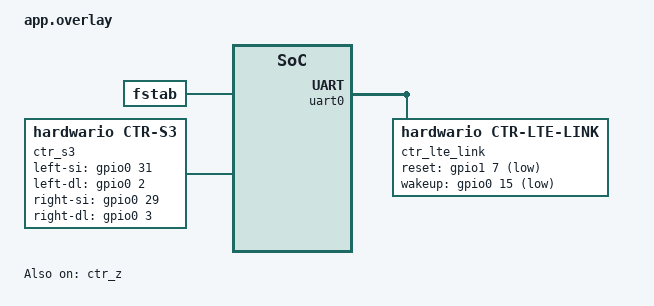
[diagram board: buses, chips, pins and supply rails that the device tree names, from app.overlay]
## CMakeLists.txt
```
#
# Copyright (c) 2025 HARDWARIO a.s.
#
# SPDX-License-Identifier: LicenseRef-HARDWARIO-5-Clause
#

cmake_minimum_required(VERSION 3.20.0)

set(ENV{FW_BUNDLE} "com.hardwario.chester.app.motion")
set(ENV{FW_NAME} "CHESTER Motion")

# Derive firmware version from git (see scripts/version.cmake); the fallback is
# used when git is unavailable at build time.
set(FW_VERSION_FALLBACK "v3.0.1")
include(${CMAKE_CURRENT_SOURCE_DIR}/../../scripts/version.cmake)

find_package(Zephyr REQUIRED HINTS $ENV{ZEPHYR_BASE})

project(chester-motion)

include(${ZEPHYR_CHESTER_MODULE_DIR}/scripts/app_codec.cmake)

target_sources(app PRIVATE src/app_cbor.c)
target_sources(app PRIVATE src/app_config.c)
target_sources(app PRIVATE src/app_data.c)
target_sources(app PRIVATE src/app_handler.c)
target_sources(app PRIVATE src/app_init.c)
target_sources(app PRIVATE src/app_send.c)
target_sources(app PRIVATE src/app_sensor.c)
target_sources(app PRIVATE src/app_shell.c)
target_sources(app PRIVATE src/app_work.c)
target_sources(app PRIVATE src/main.c)

target_precompile_headers(app PRIVATE src/feature.h)

# ### Preserved code "cmake" (begin)
# ^^^ Preserved code "cmake" (end)
```

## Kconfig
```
#
# Copyright (c) 2025 HARDWARIO a.s.
#
# SPDX-License-Identifier: LicenseRef-HARDWARIO-5-Clause
#

menu "Application"

# CHESTER-APP-REPORT-JITTER
config APP_REPORT_JITTER
	bool "Add random time jitter to report transfers"
	default y
	select ENTROPY_GENERATOR
# HARDWARE-CHESTER-Z
config SHIELD_CTR_Z
	bool "Enable SHIELD_CTR_Z"
	default y

config CTR_Z
	default y

config I2C
	default y
# SUBSYSTEM-LTE-V2
config SHIELD_CTR_LTE_V2
	bool "Enable SHIELD_CTR_LTE_V2"
	default y

config CTR_LTE_V2
	default y

# ### Preserved code "k_config" (begin)
# ^^^ Preserved code "k_config" (end)

rsource "Kconfig.variant"

endmenu

menu "Zephyr Kernel"
source "Kconfig.zephyr"
endmenu
```

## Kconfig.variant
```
#
# Copyright (c) 2025 HARDWARIO a.s.
#
# SPDX-License-Identifier: LicenseRef-HARDWARIO-5-Clause
#

config VARIANT_CHESTER_MOTION
    bool "Enable VARIANT_CHESTER_MOTION"
    default y
        
```

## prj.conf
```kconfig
#
# Copyright (c) 2025 HARDWARIO a.s.
#
# SPDX-License-Identifier: LicenseRef-HARDWARIO-5-Clause
#

# Configurations
# SUBSYSTEM-ACCEL
CONFIG_CTR_ACCEL=y
# SUBSYSTEM-BATT
CONFIG_CTR_BATT=y
# SUBSYSTEM-BLUETOOTH
CONFIG_CTR_BLE=y
# SUBSYSTEM-BUF
CONFIG_CTR_BUF=y
# SUBSYSTEM-BUTTON
CONFIG_CTR_BUTTON=y
# SUBSYSTEM-CLOUD
CONFIG_CTR_CLOUD=y
CONFIG_SETTINGS_SHELL=y
CONFIG_IMG_MANAGER=y
CONFIG_BOOTLOADER_MCUBOOT=y
CONFIG_SPI=y
CONFIG_DFU_TARGET=y
CONFIG_DFU_TARGET_STREAM=y
CONFIG_DFU_TARGET_MCUBOOT=y
CONFIG_DFU_TARGET_LOG_LEVEL_DBG=y
CONFIG_STREAM_FLASH_ERASE=y
CONFIG_STREAM_FLASH=y
CONFIG_FILE_SYSTEM=y
CONFIG_FILE_SYSTEM_LITTLEFS=y
CONFIG_FILE_SYSTEM_MKFS=y
CONFIG_FILE_SYSTEM_SHELL=y
CONFIG_SETTINGS_FILE=y
CONFIG_SETTINGS_FILE_PATH="/lfs1/settings/run"
# SUBSYSTEM-DEFAULTS
CONFIG_CTR_DEFAULTS=y
# SUBSYSTEM-INFO
CONFIG_CTR_INFO=y
# SUBSYSTEM-LED
CONFIG_CTR_LED=y
# SUBSYSTEM-LOG
CONFIG_CTR_LOG=y
# SUBSYSTEM-LTE-V2
CONFIG_CTR_LTE_V2=y
# SUBSYSTEM-POWER
CONFIG_CTR_POWER=y
# SUBSYSTEM-RTC
CONFIG_CTR_RTC=y
# SUBSYSTEM-SHELL
CONFIG_CTR_SHELL=y
# SUBSYSTEM-THERM
CONFIG_CTR_THERM=y
# SUBSYSTEM-WDOG
CONFIG_CTR_WDOG=y
# SUBSYSTEM-ZCBOR
CONFIG_ZCBOR=y
CONFIG_ZCBOR_STOP_ON_ERROR=y
# Extra configurations
CONFIG_CTR_S3=y
CONFIG_GPIO_SHELL=y
CONFIG_I2C_SHELL=y
CONFIG_ISR_TABLES_LOCAL_DECLARATION=y
CONFIG_LTO=y
CONFIG_MCUBOOT_SHELL=y

# ### Preserved code "config" (begin)
CONFIG_BUILD_OUTPUT_META=y
CONFIG_BUILD_OUTPUT_META_STATE_PROPAGATE=y
CONFIG_CTR_CLOUD_SPOOL=y
# ^^^ Preserved code "config" (end)
```

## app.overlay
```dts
/*
 * Copyright (c) 2025 HARDWARIO a.s.
 *
 * SPDX-License-Identifier: LicenseRef-HARDWARIO-5-Clause
 */

/* HARDWARE-CHESTER-Z  */
&ctr_z {
	status = "okay";
};
/* SUBSYSTEM-CLOUD  */
/ {
	fstab {
		compatible = "zephyr,fstab";
		lfs1: lfs1 {
			compatible = "zephyr,fstab,littlefs";
			mount-point = "/lfs1";
			partition = <&littlefs_storage>;
			automount;
			read-size = <16>;
			prog-size = <16>;
			cache-size = <64>;
			lookahead-size = <32>;
			block-cycles = <512>;
		};
	};
};
/* SUBSYSTEM-LTE-V2  */
/ {
	chosen {
		ctr,lte_link = &ctr_lte_link;
	};
};

&uart0 {
	status = "okay";

	ctr_lte_link: ctr_lte_link {
		compatible = "hardwario,ctr-lte-link";
		status = "okay";
		reset-gpios = <&gpio1 7 (GPIO_ACTIVE_LOW | GPIO_OPEN_DRAIN)>;
		wakeup-gpios = <&gpio0 15 (GPIO_ACTIVE_LOW | GPIO_OPEN_DRAIN)>;
	};
};

&uart0 {
	status = "okay";
};

/* ### Preserved code "overlay" (begin) */

/ {
	ctr_s3: ctr_s3 {
		compatible = "hardwario,ctr-s3";
		status = "okay";
		left-si-gpios = <&gpio0 31 GPIO_ACTIVE_HIGH>;
		left-dl-gpios = <&gpio0 2 GPIO_ACTIVE_HIGH>;
		right-si-gpios = <&gpio0 29 GPIO_ACTIVE_HIGH>;
		right-dl-gpios = <&gpio0 3 GPIO_ACTIVE_HIGH>;
	};
};

/* ^^^ Preserved code "overlay" (end) */
```

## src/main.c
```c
/*
 * Copyright (c) 2023 HARDWARIO a.s.
 *
 * SPDX-License-Identifier: LicenseRef-HARDWARIO-5-Clause
 */

#include "app_init.h"
#include "app_config.h"

/* CHESTER includes */
#include <chester/ctr_led.h>
#include <chester/ctr_wdog.h>

/* Zephyr includes */
#include <zephyr/kernel.h>
#include <zephyr/logging/log.h>

/* Standard includes */
#include <stdbool.h>

LOG_MODULE_REGISTER(main, LOG_LEVEL_DBG);

extern struct ctr_wdog_channel g_app_wdog_channel;

int main(void)
{
	int ret;
	LOG_INF("Build time: " __DATE__ " " __TIME__);

	ret = app_init();
	if (ret) {
		LOG_ERR("Call `app_init` failed: %d", ret);
		k_oops();
	}

	for (;;) {
		LOG_INF("Alive");
		ret = ctr_wdog_feed(&g_app_wdog_channel);
		if (ret) {
			LOG_ERR("Call `ctr_wdog_feed` failed: %d", ret);
			k_oops();
		}
		if (g_app_config.service_mode_enabled) {
			if (g_app_config.mode == APP_CONFIG_MODE_NONE) {
				ctr_led_set(CTR_LED_CHANNEL_Y, true);
				k_sleep(K_MSEC(30));
				ctr_led_set(CTR_LED_CHANNEL_Y, false);
			} else {
				ctr_led_set(CTR_LED_CHANNEL_G, true);
				k_sleep(K_MSEC(30));
				ctr_led_set(CTR_LED_CHANNEL_G, false);
			}
		}
		/*
		if (g_app_config.mode == APP_CONFIG_MODE_NONE) {
			ctr_led_set(CTR_LED_CHANNEL_Y, true);
			k_sleep(K_MSEC(30));
			ctr_led_set(CTR_LED_CHANNEL_Y, false);
		} else {
			ctr_led_set(CTR_LED_CHANNEL_G, true);
			k_sleep(K_MSEC(30));
			ctr_led_set(CTR_LED_CHANNEL_G, false);
		}*/

		k_sleep(K_SECONDS(5));
	}

	return 0;
}
```

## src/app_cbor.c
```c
/*
 * Copyright (c) 2024 HARDWARIO a.s.
 *
 * SPDX-License-Identifier: LicenseRef-HARDWARIO-5-Clause
 */

#include "app_cbor.h"
#include "app_codec.h"
#include "app_config.h"
#include "app_data.h"
#include "feature.h"

/* CHESTER includes */
#include <chester/ctr_info.h>
#include <chester/ctr_lte_v2.h>
#include <chester/ctr_rtc.h>

/* Zephyr includes */
#include <zephyr/kernel.h>
#include <zephyr/logging/log.h>

#include <zcbor_common.h>
#include <zcbor_decode.h>
#include <zcbor_encode.h>

/* Standard includes */
#include <errno.h>
#include <math.h>
#include <stdbool.h>
#include <stddef.h>
#include <stdint.h>
#include <stdlib.h>

/* ### Preserved code "functions" (begin) */
#include <chester/ctr_power.h>
/* ^^^ Preserved code "functions" (end) */

LOG_MODULE_REGISTER(app_cbor, LOG_LEVEL_DBG);

static int encode(zcbor_state_t *zs)
{
	int ret;
	uint64_t timestamp;


	ret = ctr_rtc_get_ts(&timestamp);
	if (ret) {
		LOG_ERR("Call `ctr_rtc_get_ts` failed: %d", ret);
		return ret;
	}

	zs->constant_state->stop_on_error = true;

	zcbor_map_start_encode(zs, ZCBOR_VALUE_IS_INDEFINITE_LENGTH);

	/* ### Preserved code "message" (begin) */

	zcbor_uint32_put(zs, CODEC_KEY_E_MESSAGE);
	{
		zcbor_map_start_encode(zs, ZCBOR_VALUE_IS_INDEFINITE_LENGTH);

		zcbor_uint32_put(zs, CODEC_KEY_E_MESSAGE__VERSION);
		zcbor_uint32_put(zs, 2);

		static uint32_t sequence;
		zcbor_uint32_put(zs, CODEC_KEY_E_MESSAGE__SEQUENCE);
		zcbor_uint32_put(zs, sequence++);

		zcbor_uint32_put(zs, CODEC_KEY_E_MESSAGE__TIMESTAMP);
		zcbor_uint64_put(zs, timestamp);

		zcbor_map_end_encode(zs, ZCBOR_VALUE_IS_INDEFINITE_LENGTH);
	}

	/* ^^^ Preserved code "message" (end) */

	/* ### Preserved code "system" (begin) */

	zcbor_uint32_put(zs, CODEC_KEY_E_SYSTEM);
	{
		zcbor_map_start_encode(zs, ZCBOR_VALUE_IS_INDEFINITE_LENGTH);

		zcbor_uint32_put(zs, CODEC_KEY_E_SYSTEM__UPTIME);
		zcbor_uint64_put(zs, k_uptime_get() / 1000);

		zcbor_map_end_encode(zs, ZCBOR_VALUE_IS_INDEFINITE_LENGTH);
	}

	/* ^^^ Preserved code "system" (end) */

	/* ### Preserved code "power" (begin) */

#if defined(FEATURE_SUBSYSTEM_POWER)
	ret = ctr_power_cbor_encode(zs);
	if (ret) {
		LOG_ERR("Call `ctr_power_cbor_encode` failed: %d", ret);
		return ret;
	}
#endif /* defined(FEATURE_SUBSYSTEM_POWER) */

	/* ^^^ Preserved code "power" (end) */

	/* ### Preserved code "network" (begin) */

	zcbor_uint32_put(zs, CODEC_KEY_E_NETWORK);
	{
		zcbor_map_start_encode(zs, ZCBOR_VALUE_IS_INDEFINITE_LENGTH);

		zcbor_uint32_put(zs, CODEC_KEY_E_NETWORK__PARAMETER);
		{
			zcbor_map_start_encode(zs, ZCBOR_VALUE_IS_INDEFINITE_LENGTH);

			static struct ctr_lte_v2_conn_param conn_param;
			ret = ctr_lte_v2_get_conn_param(&conn_param);
			if (ret) {
				LOG_ERR("Call `ctr_lte_v2_get_conn_param` failed: %d", ret);
				return ret;
			}

			zcbor_uint32_put(zs, CODEC_KEY_E_NETWORK__PARAMETER__EEST);
			if (conn_param.valid) {
				zcbor_int32_put(zs, conn_param.eest);
			} else {
				zcbor_nil_put(zs, NULL);
			}

			zcbor_uint32_put(zs, CODEC_KEY_E_NETWORK__PARAMETER__ECL);
			if (conn_param.valid) {
				zcbor_int32_put(zs, conn_param.ecl);
			} else {
				zcbor_nil_put(zs, NULL);
			}

			zcbor_uint32_put(zs, CODEC_KEY_E_NETWORK__PARAMETER__RSRP);
			if (conn_param.valid) {
				zcbor_int32_put(zs, conn_param.rsrp);
			} else {
				zcbor_nil_put(zs, NULL);
			}

			zcbor_uint32_put(zs, CODEC_KEY_E_NETWORK__PARAMETER__RSRQ);
			if (conn_param.valid) {
				zcbor_int32_put(zs, conn_param.rsrq);
			} else {
				zcbor_nil_put(zs, NULL);
			}

			zcbor_uint32_put(zs, CODEC_KEY_E_NETWORK__PARAMETER__SNR);
			if (conn_param.valid) {
				zcbor_int32_put(zs, conn_param.snr);
			} else {
				zcbor_nil_put(zs, NULL);
			}

			zcbor_uint32_put(zs, CODEC_KEY_E_NETWORK__PARAMETER__PLMN);
			if (conn_param.valid) {
				zcbor_int32_put(zs, conn_param.plmn);
			} else {
				zcbor_nil_put(zs, NULL);
			}

			zcbor_uint32_put(zs, CODEC_KEY_E_NETWORK__PARAMETER__CID);
			if (conn_param.valid) {
				zcbor_int32_put(zs, conn_param.cid);
			} else {
				zcbor_nil_put(zs, NULL);
			}

			zcbor_uint32_put(zs, CODEC_KEY_E_NETWORK__PARAMETER__BAND);
			if (conn_param.valid) {
				zcbor_int32_put(zs, conn_param.band);
			} else {
				zcbor_nil_put(zs, NULL);
			}

			zcbor_uint32_put(zs, CODEC_KEY_E_NETWORK__PARAMETER__EARFCN);
			if (conn_param.valid) {
				zcbor_int32_put(zs, conn_param.earfcn);
			} else {
				zcbor_nil_put(zs, NULL);
			}

			zcbor_map_end_encode(zs, ZCBOR_VALUE_IS_INDEFINITE_LENGTH);
		}

		zcbor_map_end_encode(zs, ZCBOR_VALUE_IS_INDEFINITE_LENGTH);
	}

	/* ^^^ Preserved code "network" (end) */

	/* ### Preserved code "thermometer" (begin) */

	zcbor_uint32_put(zs, CODEC_KEY_E_THERMOMETER);
	{
		zcbor_map_start_encode(zs, ZCBOR_VALUE_IS_INDEFINITE_LENGTH);

		zcbor_uint32_put(zs, CODEC_KEY_E_THERMOMETER__TEMPERATURE);
		if (isnan(g_app_data.therm_temperature)) {
			zcbor_nil_put(zs, NULL);
		} else {
			zcbor_int32_put(zs, g_app_data.therm_temperature * 100.f);
		}

		zcbor_map_end_encode(zs, ZCBOR_VALUE_IS_INDEFINITE_LENGTH);
	}

	/* ^^^ Preserved code "thermometer" (end) */

	/* ### Preserved code "accelerometer" (begin) */

	zcbor_uint32_put(zs, CODEC_KEY_E_ACCELEROMETER);
	{
		zcbor_map_start_encode(zs, ZCBOR_VALUE_IS_INDEFINITE_LENGTH);

		zcbor_uint32_put(zs, CODEC_KEY_E_ACCELEROMETER__ACCEL_X);
		if (isnan(g_app_data.accel_acceleration_x)) {
			zcbor_nil_put(zs, NULL);
		} else {
			zcbor_int32_put(zs, g_app_data.accel_acceleration_x * 1000.f);
		}

		zcbor_uint32_put(zs, CODEC_KEY_E_ACCELEROMETER__ACCEL_Y);
		if (isnan(g_app_data.accel_acceleration_y)) {
			zcbor_nil_put(zs, NULL);
		} else {
			zcbor_int32_put(zs, g_app_data.accel_acceleration_y * 1000.f);
		}

		zcbor_uint32_put(zs, CODEC_KEY_E_ACCELEROMETER__ACCEL_Z);
		if (isnan(g_app_data.accel_acceleration_z)) {
			zcbor_nil_put(zs, NULL);
		} else {
			zcbor_int32_put(zs, g_app_data.accel_acceleration_z * 1000.f);
		}

		zcbor_uint32_put(zs, CODEC_KEY_E_ACCELEROMETER__ORIENTATION);
		if (g_app_data.accel_orientation == INT_MAX) {
			zcbor_nil_put(zs, NULL);
		} else {
			zcbor_uint32_put(zs, g_app_data.accel_orientation);
		}

		zcbor_map_end_encode(zs, ZCBOR_VALUE_IS_INDEFINITE_LENGTH);
	}



#if defined(CONFIG_CTR_S3)

    /* ### Preserved code "motion" (begin) */
    zcbor_uint32_put(zs, CODEC_KEY_E_MOTION);
    {
       zcbor_map_start_encode(zs, ZCBOR_VALUE_IS_INDEFINITE_LENGTH);


       zcbor_uint32_put(zs, CODEC_KEY_E_MOTION__TOTALIZER);
       {
           zcbor_map_start_encode(zs, ZCBOR_VALUE_IS_INDEFINITE_LENGTH);

           zcbor_uint32_put(zs, CODEC_KEY_E_MOTION__TOTALIZER__DETECT_LEFT);
           zcbor_uint32_put(zs, g_app_data.total_detect_left);

           zcbor_uint32_put(zs, CODEC_KEY_E_MOTION__TOTALIZER__DETECT_RIGHT);
           zcbor_uint32_put(zs, g_app_data.total_detect_right);

           zcbor_uint32_put(zs, CODEC_KEY_E_MOTION__TOTALIZER__MOTION_LEFT);
           zcbor_uint32_put(zs, g_app_data.total_motion_left);

           zcbor_uint32_put(zs, CODEC_KEY_E_MOTION__TOTALIZER__MOTION_RIGHT);
           zcbor_uint32_put(zs, g_app_data.total_motion_right);

           zcbor_map_end_encode(zs, ZCBOR_VALUE_IS_INDEFINITE_LENGTH);
       }


       zcbor_uint32_put(zs, CODEC_KEY_E_MOTION__SAMPLES);
       {

           zcbor_list_start_encode(zs, ZCBOR_VALUE_IS_INDEFINITE_LENGTH);

           if (g_app_data.motion_sample_count > 0) {

               int64_t timestamp_abs = g_app_data.motion_samples[0].timestamp;

               zcbor_int64_put(zs, timestamp_abs);


               for (int i = 0; i < g_app_data.motion_sample_count; i++) {

                   int64_t timestamp_offset = g_app_data.motion_samples[i].timestamp - timestamp_abs;


                   zcbor_int64_put(zs, timestamp_offset);


                   zcbor_uint32_put(zs, g_app_data.motion_samples[i].value.detect_left);
                   zcbor_uint32_put(zs, g_app_data.motion_samples[i].value.detect_right);
                   zcbor_uint32_put(zs, g_app_data.motion_samples[i].value.motion_left);
                   zcbor_uint32_put(zs, g_app_data.motion_samples[i].value.motion_right);
               }
           }


           zcbor_list_end_encode(zs, ZCBOR_VALUE_IS_INDEFINITE_LENGTH);
       }


       zcbor_uint32_put(zs, CODEC_KEY_E_MOTION__PASSAGES);
       {
           zcbor_list_start_encode(zs, ZCBOR_VALUE_IS_INDEFINITE_LENGTH);

           if (g_app_data.passage_event_count > 0) {
               int64_t timestamp_abs = g_app_data.passage_events[0].timestamp;

               /* TSO absolute timestamp in seconds */
               zcbor_int64_put(zs, timestamp_abs);

               for (int i = 0; i < g_app_data.passage_event_count; i++) {
                   /* TSO offset timestamp in seconds */
                   zcbor_int64_put(zs,
                       g_app_data.passage_events[i].timestamp - timestamp_abs);
                   zcbor_uint32_put(zs, (uint32_t)g_app_data.passage_events[i].direction);
                   zcbor_uint32_put(zs, g_app_data.passage_events[i].delta_ms);
               }
           }

           zcbor_list_end_encode(zs, ZCBOR_VALUE_IS_INDEFINITE_LENGTH);
       }

       zcbor_map_end_encode(zs, ZCBOR_VALUE_IS_INDEFINITE_LENGTH);
    }
#endif /* defined(CONFIG_CTR_S3) */


	zcbor_map_end_encode(zs, ZCBOR_VALUE_IS_INDEFINITE_LENGTH);

	if (!zcbor_check_error(zs)) {
		LOG_ERR("Encoding failed: %d", zcbor_pop_error(zs));
		return -EFAULT;
	}

	return 0;
}

int app_cbor_encode(zcbor_state_t *zs)
{
	int ret;

	app_data_lock();

	ret = encode(zs);
	if (ret) {
		LOG_ERR("Call `encode` failed: %d", ret);
		app_data_unlock();
		return ret;
	}

	app_data_unlock();

	return 0;
}
```

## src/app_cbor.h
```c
/*
 * Copyright (c) 2024 HARDWARIO a.s.
 *
 * SPDX-License-Identifier: LicenseRef-HARDWARIO-5-Clause
 */

#ifndef APP_CBOR_H_
#define APP_CBOR_H_

/* Zephyr includes */
#include <zephyr/kernel.h>

#include <zcbor_common.h>

#ifdef __cplusplus
extern "C" {
#endif

int app_cbor_encode(zcbor_state_t *zs);

#ifdef __cplusplus
}
#endif

#endif /* APP_CBOR_H_ */
```

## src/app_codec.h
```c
#ifndef CODEC_H_
#define CODEC_H_

/* This file has been generated using the script gen-codec.py */

#ifdef __cplusplus
extern "C" {
#endif

#define CODEC_CLOUD_DECODER_HASH ((uint64_t)0xddae9dc2636e7695)
#define CODEC_CLOUD_ENCODER_HASH ((uint64_t)0x0000000000000000)

enum codec_key_e {
	CODEC_KEY_E_MESSAGE = 0,
	CODEC_KEY_E_MESSAGE__VERSION = 1,
	CODEC_KEY_E_MESSAGE__SEQUENCE = 2,
	CODEC_KEY_E_MESSAGE__TIMESTAMP = 3,
	CODEC_KEY_E_SYSTEM = 4,
	CODEC_KEY_E_SYSTEM__UPTIME = 5,
	CODEC_KEY_E_SYSTEM__VOLTAGE_LOAD = 6,
	CODEC_KEY_E_SYSTEM__VOLTAGE_REST = 7,
	CODEC_KEY_E_SYSTEM__CURRENT_LOAD = 8,
	CODEC_KEY_E_NETWORK = 9,
	CODEC_KEY_E_NETWORK__PARAMETER = 10,
	CODEC_KEY_E_NETWORK__PARAMETER__EEST = 11,
	CODEC_KEY_E_NETWORK__PARAMETER__ECL = 12,
	CODEC_KEY_E_NETWORK__PARAMETER__RSRP = 13,
	CODEC_KEY_E_NETWORK__PARAMETER__RSRQ = 14,
	CODEC_KEY_E_NETWORK__PARAMETER__SNR = 15,
	CODEC_KEY_E_NETWORK__PARAMETER__PLMN = 16,
	CODEC_KEY_E_NETWORK__PARAMETER__CID = 17,
	CODEC_KEY_E_NETWORK__PARAMETER__BAND = 18,
	CODEC_KEY_E_NETWORK__PARAMETER__EARFCN = 19,
	CODEC_KEY_E_THERMOMETER = 20,
	CODEC_KEY_E_THERMOMETER__TEMPERATURE = 21,
	CODEC_KEY_E_ACCELEROMETER = 22,
	CODEC_KEY_E_ACCELEROMETER__ACCEL_X = 23,
	CODEC_KEY_E_ACCELEROMETER__ACCEL_Y = 24,
	CODEC_KEY_E_ACCELEROMETER__ACCEL_Z = 25,
	CODEC_KEY_E_ACCELEROMETER__ORIENTATION = 26,
	CODEC_KEY_E_MOTION = 27,
	CODEC_KEY_E_MOTION__TOTALIZER = 28,
	CODEC_KEY_E_MOTION__TOTALIZER__DETECT_LEFT = 29,
	CODEC_KEY_E_MOTION__TOTALIZER__DETECT_RIGHT = 30,
	CODEC_KEY_E_MOTION__TOTALIZER__MOTION_LEFT = 31,
	CODEC_KEY_E_MOTION__TOTALIZER__MOTION_RIGHT = 32,
	CODEC_KEY_E_MOTION__SAMPLES = 33,
	CODEC_KEY_E_MOTION__PASSAGES = 34,
};

#define CODEC_CLOUD_OPTIONS_STATIC(_name) \
	static const uint8_t _name##_cloud_decoder[] = CLOUD_DECODER_BUFFER; \
	static struct ctr_cloud_options _name = { \
		.decoder_hash = CODEC_CLOUD_DECODER_HASH, \
		.encoder_hash = CODEC_CLOUD_ENCODER_HASH, \
		.decoder_buf = _name##_cloud_decoder, \
		.decoder_len = 682, \
		.encoder_buf = NULL, \
		.encoder_len = 0, \
}

#define CLOUD_DECODER_BUFFER { \
	0xa4, 0x67, 0x76, 0x65, 0x72, 0x73, 0x69, 0x6f, \
	0x6e, 0x02, 0x64, 0x74, 0x79, 0x70, 0x65, 0x67, \
	0x64, 0x65, 0x63, 0x6f, 0x64, 0x65, 0x72, 0x64, \
	0x6e, 0x61, 0x6d, 0x65, 0x78, 0x20, 0x63, 0x6f, \
	0x6d, 0x2e, 0x68, 0x61, 0x72, 0x64, 0x77, 0x61, \
	0x72, 0x69, 0x6f, 0x2e, 0x63, 0x68, 0x65, 0x73, \
	0x74, 0x65, 0x72, 0x2e, 0x61, 0x70, 0x70, 0x2e, \
	0x6d, 0x6f, 0x74, 0x69, 0x6f, 0x6e, 0x66, 0x73, \
	0x63, 0x68, 0x65, 0x6d, 0x61, 0x86, 0xa1, 0x67, \
	0x6d, 0x65, 0x73, 0x73, 0x61, 0x67, 0x65, 0x83, \
	0xa1, 0x67, 0x76, 0x65, 0x72, 0x73, 0x69, 0x6f, \
	0x6e, 0xf6, 0xa1, 0x68, 0x73, 0x65, 0x71, 0x75, \
	0x65, 0x6e, 0x63, 0x65, 0xf6, 0xa1, 0x69, 0x74, \
	0x69, 0x6d, 0x65, 0x73, 0x74, 0x61, 0x6d, 0x70, \
	0xf6, 0xa1, 0x66, 0x73, 0x79, 0x73, 0x74, 0x65, \
	0x6d, 0x84, 0xa1, 0x66, 0x75, 0x70, 0x74, 0x69, \
	0x6d, 0x65, 0xf6, 0xa1, 0x6c, 0x76, 0x6f, 0x6c, \
	0x74, 0x61, 0x67, 0x65, 0x5f, 0x6c, 0x6f, 0x61, \
	0x64, 0x82, 0xa1, 0x64, 0x24, 0x64, 0x69, 0x76, \
	0x19, 0x03, 0xe8, 0xa1, 0x64, 0x24, 0x66, 0x70, \
	0x70, 0x02, 0xa1, 0x6c, 0x76, 0x6f, 0x6c, 0x74, \
	0x61, 0x67, 0x65, 0x5f, 0x72, 0x65, 0x73, 0x74, \
	0x82, 0xa1, 0x64, 0x24, 0x64, 0x69, 0x76, 0x19, \
	0x03, 0xe8, 0xa1, 0x64, 0x24, 0x66, 0x70, 0x70, \
	0x02, 0xa1, 0x6c, 0x63, 0x75, 0x72, 0x72, 0x65, \
	0x6e, 0x74, 0x5f, 0x6c, 0x6f, 0x61, 0x64, 0xf6, \
	0xa1, 0x67, 0x6e, 0x65, 0x74, 0x77, 0x6f, 0x72, \
	0x6b, 0x81, 0xa1, 0x69, 0x70, 0x61, 0x72, 0x61, \
	0x6d, 0x65, 0x74, 0x65, 0x72, 0x89, 0xa1, 0x64, \
	0x65, 0x65, 0x73, 0x74, 0xf6, 0xa1, 0x63, 0x65, \
	0x63, 0x6c, 0xf6, 0xa1, 0x64, 0x72, 0x73, 0x72, \
	0x70, 0xf6, 0xa1, 0x64, 0x72, 0x73, 0x72, 0x71, \
	0xf6, 0xa1, 0x63, 0x73, 0x6e, 0x72, 0xf6, 0xa1, \
	0x64, 0x70, 0x6c, 0x6d, 0x6e, 0xf6, 0xa1, 0x63, \
	0x63, 0x69, 0x64, 0xf6, 0xa1, 0x64, 0x62, 0x61, \
	0x6e, 0x64, 0xf6, 0xa1, 0x66, 0x65, 0x61, 0x72, \
	0x66, 0x63, 0x6e, 0xf6, 0xa1, 0x6b, 0x74, 0x68, \
	0x65, 0x72, 0x6d, 0x6f, 0x6d, 0x65, 0x74, 0x65, \
	0x72, 0x81, 0xa1, 0x6b, 0x74, 0x65, 0x6d, 0x70, \
	0x65, 0x72, 0x61, 0x74, 0x75, 0x72, 0x65, 0x82, \
	0xa1, 0x64, 0x24, 0x64, 0x69, 0x76, 0x18, 0x64, \
	0xa1, 0x64, 0x24, 0x66, 0x70, 0x70, 0x02, 0xa1, \
	0x6d, 0x61, 0x63, 0x63, 0x65, 0x6c, 0x65, 0x72, \
	0x6f, 0x6d, 0x65, 0x74, 0x65, 0x72, 0x84, 0xa1, \
	0x67, 0x61, 0x63, 0x63, 0x65, 0x6c, 0x5f, 0x78, \
	0x82, 0xa1, 0x64, 0x24, 0x64, 0x69, 0x76, 0x19, \
	0x03, 0xe8, 0xa1, 0x64, 0x24, 0x66, 0x70, 0x70, \
	0x02, 0xa1, 0x67, 0x61, 0x63, 0x63, 0x65, 0x6c, \
	0x5f, 0x79, 0x82, 0xa1, 0x64, 0x24, 0x64, 0x69, \
	0x76, 0x19, 0x03, 0xe8, 0xa1, 0x64, 0x24, 0x66, \
	0x70, 0x70, 0x02, 0xa1, 0x67, 0x61, 0x63, 0x63, \
	0x65, 0x6c, 0x5f, 0x7a, 0x82, 0xa1, 0x64, 0x24, \
	0x64, 0x69, 0x76, 0x19, 0x03, 0xe8, 0xa1, 0x64, \
	0x24, 0x66, 0x70, 0x70, 0x02, 0xa1, 0x6b, 0x6f, \
	0x72, 0x69, 0x65, 0x6e, 0x74, 0x61, 0x74, 0x69, \
	0x6f, 0x6e, 0xf6, 0xa1, 0x66, 0x6d, 0x6f, 0x74, \
	0x69, 0x6f, 0x6e, 0x83, 0xa1, 0x69, 0x74, 0x6f, \
	0x74, 0x61, 0x6c, 0x69, 0x7a, 0x65, 0x72, 0x84, \
	0xa1, 0x6b, 0x64, 0x65, 0x74, 0x65, 0x63, 0x74, \
	0x5f, 0x6c, 0x65, 0x66, 0x74, 0xf6, 0xa1, 0x6c, \
	0x64, 0x65, 0x74, 0x65, 0x63, 0x74, 0x5f, 0x72, \
	0x69, 0x67, 0x68, 0x74, 0xf6, 0xa1, 0x6b, 0x6d, \
	0x6f, 0x74, 0x69, 0x6f, 0x6e, 0x5f, 0x6c, 0x65, \
	0x66, 0x74, 0xf6, 0xa1, 0x6c, 0x6d, 0x6f, 0x74, \
	0x69, 0x6f, 0x6e, 0x5f, 0x72, 0x69, 0x67, 0x68, \
	0x74, 0xf6, 0xa1, 0x67, 0x73, 0x61, 0x6d, 0x70, \
	0x6c, 0x65, 0x73, 0x81, 0xa1, 0x64, 0x24, 0x74, \
	0x73, 0x6f, 0x84, 0xa1, 0x6b, 0x64, 0x65, 0x74, \
	0x65, 0x63, 0x74, 0x5f, 0x6c, 0x65, 0x66, 0x74, \
	0xf6, 0xa1, 0x6c, 0x64, 0x65, 0x74, 0x65, 0x63, \
	0x74, 0x5f, 0x72, 0x69, 0x67, 0x68, 0x74, 0xf6, \
	0xa1, 0x6b, 0x6d, 0x6f, 0x74, 0x69, 0x6f, 0x6e, \
	0x5f, 0x6c, 0x65, 0x66, 0x74, 0xf6, 0xa1, 0x6c, \
	0x6d, 0x6f, 0x74, 0x69, 0x6f, 0x6e, 0x5f, 0x72, \
	0x69, 0x67, 0x68, 0x74, 0xf6, 0xa1, 0x68, 0x70, \
	0x61, 0x73, 0x73, 0x61, 0x67, 0x65, 0x73, 0x81, \
	0xa1, 0x64, 0x24, 0x74, 0x73, 0x6f, 0x82, 0xa1, \
	0x69, 0x64, 0x69, 0x72, 0x65, 0x63, 0x74, 0x69, \
	0x6f, 0x6e, 0x81, 0xa1, 0x65, 0x24, 0x65, 0x6e, \
	0x75, 0x6d, 0x83, 0x67, 0x75, 0x6e, 0x6b, 0x6e, \
	0x6f, 0x77, 0x6e, 0x6d, 0x6c, 0x65, 0x66, 0x74, \
	0x5f, 0x74, 0x6f, 0x5f, 0x72, 0x69, 0x67, 0x68, \
	0x74, 0x6d, 0x72, 0x69, 0x67, 0x68, 0x74, 0x5f, \
	0x74, 0x6f, 0x5f, 0x6c, 0x65, 0x66, 0x74, 0xa1, \
	0x68, 0x64, 0x65, 0x6c, 0x74, 0x61, 0x5f, 0x6d, \
	0x73, 0xf6, \
}

#ifdef __cplusplus
}
#endif

#endif /* CODEC_H_ */
```

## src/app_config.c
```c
/*
 * Copyright (c) 2025 HARDWARIO a.s.
 *
 * SPDX-License-Identifier: LicenseRef-HARDWARIO-5-Clause
 */

#include "app_config.h"

/* CHESTER includes */
#include <chester/ctr_config.h>

/* Zephyr includes */
#include <zephyr/init.h>
#include <zephyr/kernel.h>
#include <zephyr/logging/log.h>
#include <zephyr/settings/settings.h>
#include <zephyr/shell/shell.h>

/* Standard includes */
#include <stdbool.h>
#include <stdio.h>
#include <stdlib.h>
#include <string.h>

/* ### Preserved code "includes" (begin) */
/* ^^^ Preserved code "includes" (end) */

LOG_MODULE_REGISTER(app_config, LOG_LEVEL_DBG);

#define SETTINGS_PFX "app-motion"

struct app_config g_app_config;

static struct app_config m_config_interim;

/* clang-format off */
const struct ctr_config_item items[] = {
	CTR_CONFIG_ITEM_INT("interval-sample", m_config_interim.interval_sample, 1, 86400, "Get/Set sample interval in seconds.", 60),
	CTR_CONFIG_ITEM_INT("interval-report", m_config_interim.interval_report, 30, 86400, "Get/Set report interval in seconds.", 1800),
	CTR_CONFIG_ITEM_INT("interval-poll", m_config_interim.interval_poll, 0, 86400, "Get/Set polling interval in seconds.", 0),
	CTR_CONFIG_ITEM_ENUM("sensitivity", m_config_interim.sensitivity, ((const char*[]){"low", "medium", "high", "individual"}), "Set sensitivity (low, medium, high, individual)", 1),
	
	CTR_CONFIG_ITEM_INT("motion-sens", m_config_interim.motion_sens, 1, 255, "Get/Set motion sensitivity (1-255).", 64),
	CTR_CONFIG_ITEM_INT("motion-blind", m_config_interim.motion_blind, 0, 10, "Get/Set motion blind time in seconds (0-10).", 2),
	CTR_CONFIG_ITEM_INT("motion-pulse", m_config_interim.motion_pulse, 1, 10, "Get/Set motion pulse counter (1-10).", 2),
	CTR_CONFIG_ITEM_INT("motion-window", m_config_interim.motion_window, 0, 10, "Get/Set motion window time in seconds (0-10).", 2),
	CTR_CONFIG_ITEM_BOOL("service-mode-enabled", m_config_interim.service_mode_enabled, "Get/Set service mode enabled state.", false),

	CTR_CONFIG_ITEM_ENUM("mode", m_config_interim.mode, ((const char*[]){"none", "lte"}), "Set communication mode", APP_CONFIG_MODE_LTE),

	/* ### Preserved code "config" (begin) */
	/* ^^^ Preserved code "config" (end) */

};
/* clang-format on */

/* ### Preserved code "function" (begin) */
/* ^^^ Preserved code "function" (end) */

int app_config_cmd_config_show(const struct shell *shell, size_t argc, char **argv)
{
	/* ### Preserved code "app_config_cmd_config_show start" (begin) */
	for (int i = 0; i < ARRAY_SIZE(items); i++) {
		const char *item_name = items[i].name;
		if (strncmp(item_name, "motion-", 7) == 0 &&
		    g_app_config.sensitivity != APP_CONFIG_SENSITIVITY_INDIVIDUAL) {
			continue;
		}
		ctr_config_show_item(shell, &items[i]);
	}
	return 0;
	/* ^^^ Preserved code "app_config_cmd_config_show start" (end) */

	for (int i = 0; i < ARRAY_SIZE(items); i++) {
		ctr_config_show_item(shell, &items[i]);
	}

	/* ### Preserved code "app_config_cmd_config_show end" (begin) */
	/* ^^^ Preserved code "app_config_cmd_config_show end" (end) */

	return 0;
}

int app_config_cmd_config(const struct shell *shell, size_t argc, char **argv)
{
	/* ### Preserved code "app_config_cmd_config" (begin) */
	/* ^^^ Preserved code "app_config_cmd_config" (end) */
	return ctr_config_cmd_config(items, ARRAY_SIZE(items), shell, argc, argv);
}

static int h_set(const char *key, size_t len, settings_read_cb read_cb, void *cb_arg)
{
	/* ### Preserved code "h_set" (begin) */
	/* ^^^ Preserved code "h_set" (end) */

	return ctr_config_h_set(items, ARRAY_SIZE(items), key, len, read_cb, cb_arg);
}

static int h_commit(void)
{
	LOG_DBG("Loaded settings in full");

	/* ### Preserved code "h_commit" (begin) */
	/* ^^^ Preserved code "h_commit" (end) */

	memcpy(&g_app_config, &m_config_interim, sizeof(g_app_config));
	return 0;
}

static int h_export(int (*export_func)(const char *name, const void *val, size_t val_len))
{
	/* ### Preserved code "h_export" (begin) */
	/* ^^^ Preserved code "h_export" (end) */

	return ctr_config_h_export(items, ARRAY_SIZE(items), export_func);
}

static int init(void)
{
	int ret;

	LOG_INF("System initialization");

	for (int i = 0; i < ARRAY_SIZE(items); i++) {
		ctr_config_init_item(&items[i]);
	}

	static struct settings_handler sh = {
		.name = SETTINGS_PFX,
		.h_set = h_set,
		.h_commit = h_commit,
		.h_export = h_export,
	};

	ret = settings_register(&sh);
	if (ret) {
		LOG_ERR("Call `settings_register` failed: %d", ret);
		return ret;
	}

	ret = settings_load_subtree(SETTINGS_PFX);
	if (ret) {
		LOG_ERR("Call `settings_load_subtree` failed: %d", ret);
		return ret;
	}

	/* ### Preserved code "init" (begin) */
	/* ^^^ Preserved code "init" (end) */

	ctr_config_append_show(SETTINGS_PFX, app_config_cmd_config_show);

	return 0;
}

SYS_INIT(init, APPLICATION, CONFIG_APPLICATION_INIT_PRIORITY);
```

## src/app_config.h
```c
/*
 * Copyright (c) 2025 HARDWARIO a.s.
 *
 * SPDX-License-Identifier: LicenseRef-HARDWARIO-5-Clause
 */

#ifndef APP_CONFIG_H_
#define APP_CONFIG_H_

/* Zephyr includes */
#include <zephyr/shell/shell.h>

/* Standard includes */
#include <stdbool.h>
#include <stddef.h>

/* ### Preserved code "includes" (begin) */
/* ^^^ Preserved code "includes" (end) */

#ifdef __cplusplus
extern "C" {
#endif

enum app_config_mode {
	APP_CONFIG_MODE_NONE = 0,
	APP_CONFIG_MODE_LTE = 1,
};

enum app_config_sensitivity {
	APP_CONFIG_SENSITIVITY_LOW = 0,
	APP_CONFIG_SENSITIVITY_MEDIUM = 1,
	APP_CONFIG_SENSITIVITY_HIGH = 2,
	APP_CONFIG_SENSITIVITY_INDIVIDUAL = 3,
};

struct app_config {
	int interval_sample;
	int interval_report;
	int interval_poll;
	enum app_config_sensitivity sensitivity;
	int motion_sens;
	int motion_blind;
	int motion_pulse;
	int motion_window;
	bool service_mode_enabled;

	enum app_config_mode mode;

	/* ### Preserved code "struct variables" (begin) */
	/* ^^^ Preserved code "struct variables" (end) */
};

extern struct app_config g_app_config;

int app_config_cmd_config_show(const struct shell *shell, size_t argc, char **argv);
int app_config_cmd_config_mode(const struct shell *shell, size_t argc, char **argv);

int app_config_cmd_config(const struct shell *shell, size_t argc, char **argv);

/* ### Preserved code "functions" (begin) */
/* ^^^ Preserved code "functions" (end) */

#ifdef __cplusplus
}
#endif

#endif /* APP_CONFIG_H_ */
```

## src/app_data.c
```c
/*
 * Copyright (c) 2023 HARDWARIO a.s.
 *
 * SPDX-License-Identifier: LicenseRef-HARDWARIO-5-Clause
 */

#include "app_data.h"

/* CHESTER includes */
#include <chester/ctr_lte.h>

/* Zephyr includes */
#include <zephyr/kernel.h>

/* Standard includes */
#include <limits.h>
#include <math.h>
#include <stdbool.h>

/*
 * Keep `g_app_data` zero-initialized so it is placed in `.bss` (RAM only).
 * Non-zero initializers (NAN, INT_MAX) would move the whole structure to
 * `.data`, which occupies the same amount of FLASH and is copied on boot.
 * Non-zero defaults are set at runtime in `app_data_init()` instead.
 */
struct app_data g_app_data;

static K_MUTEX_DEFINE(m_lock);

int app_data_init(void)
{
	app_data_lock();

	g_app_data.accel_acceleration_x = NAN;
	g_app_data.accel_acceleration_y = NAN;
	g_app_data.accel_acceleration_z = NAN;
	g_app_data.accel_orientation = INT_MAX;
	g_app_data.therm_temperature = NAN;

	app_data_unlock();

	return 0;
}

void app_data_lock(void)
{
	k_mutex_lock(&m_lock, K_FOREVER);
}

void app_data_unlock(void)
{
	k_mutex_unlock(&m_lock);
}

K_MUTEX_DEFINE(g_app_data_lte_eval_mut);
bool g_app_data_lte_eval_valid;
struct ctr_lte_eval g_app_data_lte_eval;
```

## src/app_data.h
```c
#ifndef APP_DATA_H_
#define APP_DATA_H_

#include <stdbool.h>
#include <stdint.h>
#include "feature.h"

#include <zephyr/kernel.h>

#define APP_DATA_MAX_MEASUREMENTS   30
#define APP_DATA_MAX_PASSAGE_EVENTS 32


#ifdef _cplusplus
extern "C" {
#endif




enum app_data_direction {
	APP_DATA_DIRECTION_NONE = 0,
	APP_DATA_DIRECTION_LEFT_TO_RIGHT,
	APP_DATA_DIRECTION_RIGHT_TO_LEFT,
};

/* These values are wire-visible: motion.passages encodes `direction` as the
 * index into the $enum list in codec/cbor-decoder.yaml. Keep the order here
 * and there in sync ("unknown", "left_to_right", "right_to_left").
 */
BUILD_ASSERT(APP_DATA_DIRECTION_NONE == 0);
BUILD_ASSERT(APP_DATA_DIRECTION_LEFT_TO_RIGHT == 1);
BUILD_ASSERT(APP_DATA_DIRECTION_RIGHT_TO_LEFT == 2);


struct app_data_measurement_value {
	int detect_left;
	int detect_right;
	int motion_left;
	int motion_right;
};


struct app_data_measurement {
	uint64_t timestamp;
	struct app_data_measurement_value value;
};


struct app_data_passage_event {
	/* UNIX timestamp in seconds, matching the motion.passages $tso base */
	int64_t timestamp;
	enum app_data_direction direction;
	/* Time between the two sensor detections forming this passage */
	uint16_t delta_ms;
};

struct app_data {
	float therm_temperature;
	float accel_acceleration_x;
	float accel_acceleration_y;
	float accel_acceleration_z;
	int accel_orientation;

#if defined(CONFIG_CTR_S3)
	int motion_count_l;
	int motion_count_r;
	int motion_count_left;
	int motion_count_right;

	int total_detect_left;
	int total_detect_right;
	int total_motion_left;
	int total_motion_right;

	struct app_data_measurement motion_samples[APP_DATA_MAX_MEASUREMENTS];
	int motion_sample_count;
	enum app_data_direction last_motion_direction;

	int passage_event_count;
	struct app_data_passage_event passage_events[APP_DATA_MAX_PASSAGE_EVENTS];
#endif /* defined(CONFIG_CTR_S3) */
	};

extern struct app_data g_app_data;

extern struct k_mutex g_app_data_lte_eval_mut;
extern bool g_app_data_lte_eval_valid;
extern struct ctr_lte_eval g_app_data_lte_eval;

int app_data_init(void);
void app_data_lock(void);
void app_data_unlock(void);

#ifdef _cplusplus
}
#endif

#endif /* APP_DATA_H_ */
```

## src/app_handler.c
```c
/*
 * Copyright (c) 2023 HARDWARIO a.s.
 *
 * SPDX-License-Identifier: LicenseRef-HARDWARIO-5-Clause
 */

#include "app_config.h"
#include "app_data.h"
#include "app_handler.h"
#include "app_init.h"
#include "app_work.h"
#include "feature.h"

/* CHESTER includes */
#include <chester/ctr_button.h>
#include <chester/ctr_led.h>
#include <chester/ctr_rtc.h>
#include <chester/drivers/ctr_z.h>
#include <chester/drivers/ctr_s3.h>

/* Zephyr includes */
#include <zephyr/device.h>
#include <zephyr/kernel.h>
#include <zephyr/logging/log.h>
#include <zephyr/sys/reboot.h>

LOG_MODULE_REGISTER(app_handler, LOG_LEVEL_DBG);

extern struct app_config g_app_config;
#if defined(FEATURE_SUBSYSTEM_BUTTON)

static void app_load_timer_handler(struct k_timer *timer)
{
    ctr_led_set(CTR_LED_CHANNEL_LOAD, 0);
}

K_TIMER_DEFINE(app_load_timer, app_load_timer_handler, NULL);

void app_handler_ctr_button(enum ctr_button_channel chan, enum ctr_button_event ev, int val,
              void *user_data)
{
    int ret;

    if (chan != CTR_BUTTON_CHANNEL_INT) {
       return;
    }

    if (ev == CTR_BUTTON_EVENT_CLICK) {
       for (int i = 0; i < val; i++) {
          ret = ctr_led_set(CTR_LED_CHANNEL_Y, true);
          if (ret) {
             LOG_ERR("Call `ctr_led_set` failed: %d", ret);
             return;
          }

          k_sleep(K_MSEC(50));
          ret = ctr_led_set(CTR_LED_CHANNEL_Y, false);
          if (ret) {
             LOG_ERR("Call `ctr_led_set` failed: %d", ret);
             return;
          }

          k_sleep(K_MSEC(200));
       }

       switch (val) {
       case 1:
          app_work_send();
          break;
       case 2:
          app_work_sample();
          break;
       case 3:
          app_work_sample();
          app_work_send();
          break;
       case 4:
          sys_reboot(SYS_REBOOT_COLD);
          break;
       case 5:
          ret = ctr_led_set(CTR_LED_CHANNEL_LOAD, 1);
          if (ret) {
             LOG_ERR("Call `ctr_led_set` failed: %d", ret);
             return;
          }
          k_timer_start(&app_load_timer, K_MINUTES(2), K_FOREVER);
          break;
       }
    }
}

#endif /* defined(FEATURE_SUBSYSTEM_BUTTON) */

#if defined(CONFIG_CTR_S3)

static enum {
   STATE_IDLE,
   STATE_L_DETECTED,
   STATE_R_DETECTED,
} motion_state = STATE_IDLE;

static int64_t m_first_detection_uptime;
static app_motion_detection_cb_t m_detection_cb;
static void *m_detection_cb_user_data;

static void reset_motion_state(struct k_timer *timer)
{
   motion_state = STATE_IDLE;
   LOG_DBG("Motion state reset");
}

K_TIMER_DEFINE(motion_state_timer, reset_motion_state, NULL);

void app_handler_set_detection_cb(app_motion_detection_cb_t cb, void *user_data)
{
   m_detection_cb = cb;
   m_detection_cb_user_data = user_data;
}

void app_handler_clear_detection_cb(void)
{
   m_detection_cb = NULL;
   m_detection_cb_user_data = NULL;
}

/* Record a completed passage and notify the detection callback. Must be called
 * with the app data lock held.
 */
static void record_passage(enum app_data_direction direction)
{
	int64_t delta_ms = k_uptime_get() - m_first_detection_uptime;

	if (delta_ms < 0 || delta_ms > UINT16_MAX) {
		LOG_WRN("Passage delta out of range: %lld ms", delta_ms);
		return;
	}

	if (g_app_data.passage_event_count >= APP_DATA_MAX_PASSAGE_EVENTS) {
		LOG_WRN("Passage buffer full, dropping event");
	} else {
		int64_t timestamp = 0;
		int ret = ctr_rtc_get_ts(&timestamp);

		if (ret) {
			LOG_WRN("Call `ctr_rtc_get_ts` failed: %d", ret);
		}

		int idx = g_app_data.passage_event_count;

		g_app_data.passage_events[idx].timestamp = timestamp;
		g_app_data.passage_events[idx].direction = direction;
		g_app_data.passage_events[idx].delta_ms = (uint16_t)delta_ms;
		g_app_data.passage_event_count = idx + 1;
	}

	if (m_detection_cb) {
		struct app_detection_event ev = {
			.direction = (int)direction,
			.delta_ms = (int)delta_ms,
			.detect_left = g_app_data.motion_count_l,
			.detect_right = g_app_data.motion_count_r,
			.motion_left = g_app_data.motion_count_left,
			.motion_right = g_app_data.motion_count_right,
		};

		m_detection_cb(&ev, m_detection_cb_user_data);
	}
}

void app_handler_ctr_s3(const struct device *dev, enum ctr_s3_event event, void *user_data)
{
   if (g_app_config.service_mode_enabled) {
      switch (event) {
         case CTR_S3_EVENT_MOTION_L_DETECTED:
            ctr_led_set(CTR_LED_CHANNEL_G, true);
            k_sleep(K_MSEC(100));
            ctr_led_set(CTR_LED_CHANNEL_G, false);
            break;
         case CTR_S3_EVENT_MOTION_R_DETECTED:
            ctr_led_set(CTR_LED_CHANNEL_R, true);
            k_sleep(K_MSEC(100));
            ctr_led_set(CTR_LED_CHANNEL_R, false);
            break;
         default:
            break;
      }
   }
   switch (event) {
      case CTR_S3_EVENT_MOTION_L_DETECTED:
         LOG_INF("Motion L detected");
         app_data_lock();

         if (motion_state == STATE_IDLE) {
            motion_state = STATE_L_DETECTED;
            m_first_detection_uptime = k_uptime_get();
            g_app_data.motion_count_l++;
            g_app_data.total_detect_left++;
            k_timer_start(&motion_state_timer, K_MSEC(750), K_NO_WAIT);
         } else if (motion_state == STATE_R_DETECTED) {
            g_app_data.motion_count_l++;
            g_app_data.total_detect_left++;
            LOG_INF("Movement detected from right to left.");
            g_app_data.last_motion_direction = APP_DATA_DIRECTION_RIGHT_TO_LEFT;
            g_app_data.motion_count_left++;
            g_app_data.total_motion_left++;
            k_timer_stop(&motion_state_timer);
            motion_state = STATE_IDLE;

            record_passage(APP_DATA_DIRECTION_RIGHT_TO_LEFT);
         }

         app_data_unlock();
         break;

      case CTR_S3_EVENT_MOTION_R_DETECTED:
         LOG_INF("Motion R detected");
         app_data_lock();

         if (motion_state == STATE_IDLE) {
            motion_state = STATE_R_DETECTED;
            m_first_detection_uptime = k_uptime_get();
            g_app_data.motion_count_r++;
            g_app_data.total_detect_right++;
            k_timer_start(&motion_state_timer, K_MSEC(750), K_NO_WAIT);
         } else if (motion_state == STATE_L_DETECTED) {
            g_app_data.motion_count_r++;
            g_app_data.total_detect_right++;
            LOG_INF("Movement detected from left to right.");
            g_app_data.last_motion_direction = APP_DATA_DIRECTION_LEFT_TO_RIGHT;
            g_app_data.motion_count_right++;
            g_app_data.total_motion_right++;
            k_timer_stop(&motion_state_timer);
            motion_state = STATE_IDLE;

            record_passage(APP_DATA_DIRECTION_LEFT_TO_RIGHT);
         }

         app_data_unlock();
         break;

      default:
         LOG_ERR("Unknown event: %d", event);
         return;
   }
}

#endif /* defined(CONFIG_CTR_S3) */
```

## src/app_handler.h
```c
/*
 * Copyright (c) 2023 HARDWARIO a.s.
 *
 * SPDX-License-Identifier: LicenseRef-HARDWARIO-5-Clause
 */

#ifndef APP_HANDLER_H_
#define APP_HANDLER_H_

/* CHESTER includes */
#include <chester/ctr_button.h>
#include <chester/ctr_lte.h>
#include <chester/drivers/ctr_s3.h>

#ifdef __cplusplus
extern "C" {
#endif

#if defined(FEATURE_SUBSYSTEM_LTE)
void app_handler_lte(enum ctr_lte_event event, union ctr_lte_event_data *data, void *param);
#endif /* defined(FEATURE_SUBSYSTEM_LTE) */

#if defined(FEATURE_SUBSYSTEM_BUTTON)
void app_handler_ctr_button(enum ctr_button_channel chan, enum ctr_button_event ev, int val,
			    void *user_data);
#endif /* defined(FEATURE_SUBSYSTEM_BUTTON) */

#if defined(CONFIG_CTR_S3)
void app_handler_ctr_s3(const struct device *dev, enum ctr_s3_event event, void *user_data);

struct app_detection_event {
	int direction;  /* 1 = L->R, 2 = R->L */
	int delta_ms;
	int detect_left;
	int detect_right;
	int motion_left;
	int motion_right;
};

typedef void (*app_motion_detection_cb_t)(const struct app_detection_event *event, void *user_data);

void app_handler_set_detection_cb(app_motion_detection_cb_t cb, void *user_data);
void app_handler_clear_detection_cb(void);
#endif /* defined(CONFIG_CTR_S3) */

#ifdef __cplusplus
}
#endif

#endif /* APP_HANDLER_H_ */
```

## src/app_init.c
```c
/*
 * Copyright (c) 2023 HARDWARIO a.s.
 *
 * SPDX-License-Identifier: LicenseRef-HARDWARIO-5-Clause
 */
#include "app_config.h"
#include "app_data.h"
#include "app_handler.h"
#include "app_work.h"
#include "app_config.h"
#include "app_codec.h"
#include "feature.h"

/* CHESTER includes */
#include <chester/ctr_button.h>
#include <chester/ctr_cloud.h>
#include <chester/ctr_led.h>
#include <chester/ctr_lte_v2.h>
#include <chester/ctr_power.h>
#include <chester/ctr_wdog.h>
#include <chester/drivers/ctr_s3.h>

/* Zephyr includes */
#include <zephyr/device.h>
#include <zephyr/devicetree.h>
#include <zephyr/logging/log.h>

LOG_MODULE_REGISTER(app_init, LOG_LEVEL_DBG);

struct ctr_wdog_channel g_app_wdog_channel;
#if defined(FEATURE_SUBSYSTEM_LTE)
K_SEM_DEFINE(g_app_init_sem, 0, 1);
#endif /* defined(FEATURE_SUBSYSTEM_LTE) */

int app_init(void)
{
	int ret;

	ret = app_data_init();
	if (ret) {
		LOG_ERR("Call `app_data_init` failed: %d", ret);
		return ret;
	}

    if (g_app_config.service_mode_enabled) {
        ctr_led_set(CTR_LED_CHANNEL_Y, true);
        k_sleep(K_MSEC(50));
        ctr_led_set(CTR_LED_CHANNEL_Y, false);
    }

	ctr_led_set(CTR_LED_CHANNEL_R, true);

	ret = ctr_wdog_set_timeout(120000);
	if (ret) {
		LOG_ERR("Call `ctr_wdog_set_timeout` failed: %d", ret);
		return ret;
	}

	ret = ctr_wdog_install(&g_app_wdog_channel);
	if (ret) {
		LOG_ERR("Call `ctr_wdog_install` failed: %d", ret);
		return ret;
	}

	ret = ctr_wdog_start();
	if (ret) {
		LOG_ERR("Call `ctr_wdog_start` failed: %d", ret);
		return ret;
	}

#if defined(FEATURE_SUBSYSTEM_BUTTON)
	ret = ctr_button_set_event_cb(app_handler_ctr_button, NULL);
	if (ret) {
		LOG_ERR("Call `ctr_button_set_event_cb` failed: %d", ret);
		return ret;
	}
#endif /* defined(FEATURE_SUBSYSTEM_BUTTON) */

#if defined(CONFIG_CTR_S3)
	static const struct device *dev = DEVICE_DT_GET(DT_NODELABEL(ctr_s3));

	if (!device_is_ready(dev)) {
		LOG_ERR("Device not ready");
		return -ENODEV;
	}

	ret = ctr_s3_set_handler(dev, app_handler_ctr_s3, NULL);
	if (ret) {
		LOG_ERR("Call `ctr_s3_set_handler` failed: %d", ret);
		return ret;
	}

	struct ctr_s3_param param;

	switch (g_app_config.sensitivity) {
	case APP_CONFIG_SENSITIVITY_LOW:
		param = (struct ctr_s3_param){ .sensitivity = 32,
					    .blind_time = 3,
					    .pulse_counter = 3,
					    .window_time = 4 };
		LOG_INF("Sensitivity set to low");
		break;
	case APP_CONFIG_SENSITIVITY_HIGH:
		param = (struct ctr_s3_param){ .sensitivity = 32,
					    .blind_time = 1,
					    .pulse_counter = 1,
					    .window_time = 0 };
		LOG_INF("Sensitivity set to high");
		break;
	case APP_CONFIG_SENSITIVITY_INDIVIDUAL:
		param = (struct ctr_s3_param){ .sensitivity = g_app_config.motion_sens,
					    .blind_time = g_app_config.motion_blind,
					    .pulse_counter = g_app_config.motion_pulse,
					    .window_time = g_app_config.motion_window };
		LOG_INF("Sensitivity set to individual (sens=%d, blind=%d, pulse=%d, window=%d)",
			g_app_config.motion_sens, g_app_config.motion_blind,
			g_app_config.motion_pulse, g_app_config.motion_window);
		break;
	case APP_CONFIG_SENSITIVITY_MEDIUM:
	default:
		param = (struct ctr_s3_param){ .sensitivity = 64,
					    .blind_time = 2,
					    .pulse_counter = 2,
					    .window_time = 2 };
		LOG_INF("Sensitivity set to medium");
		break;
	}

	ret = ctr_s3_configure(dev, CTR_S3_CHANNEL_L, &param);
	if (ret) {
		LOG_ERR("Call `ctr_s3_configure` failed: %d", ret);
		return ret;
	}

	ret = ctr_s3_configure(dev, CTR_S3_CHANNEL_R, &param);
	if (ret) {
		LOG_ERR("Call `ctr_s3_configure` failed: %d", ret);
		return ret;
	}
#endif /* defined(CONFIG_CTR_S3) */

#if defined(FEATURE_SUBSYSTEM_CLOUD)
	if (g_app_config.mode == APP_CONFIG_MODE_LTE) {
		CODEC_CLOUD_OPTIONS_STATIC(copt);

		ret = ctr_cloud_init(&copt);
		if (ret) {
			LOG_ERR("Call `ctr_cloud_init` failed: %d", ret);
			return ret;
		}

		if (g_app_config.interval_poll > 0) {
			ret = ctr_cloud_set_poll_interval(K_SECONDS(g_app_config.interval_poll));
			if (ret) {
				LOG_ERR("Call `ctr_cloud_set_pull_interval` failed: %d", ret);
				return ret;
			}
		}

		while (true) {
			ret = ctr_cloud_wait_initialized(K_SECONDS(60));
			if (!ret) {
				break;
			} else {
				if (ret == -ETIMEDOUT) {
					LOG_INF("Waiting for cloud initialization");
				} else {
					LOG_ERR("Call `ctr_cloud_wait_initialized` failed: %d",
						ret);
					return ret;
				}
			}

			ret = ctr_wdog_feed(&g_app_wdog_channel);
			if (ret) {
				LOG_ERR("Call `ctr_wdog_feed` failed: %d", ret);
				return ret;
			}
		}
	}
#endif /* defined(FEATURE_SUBSYSTEM_CLOUD) */

	ctr_led_set(CTR_LED_CHANNEL_R, false);

#if defined(FEATURE_SUBSYSTEM_POWER)
	ret = ctr_power_init(NULL, NULL);
	if (ret) {
		LOG_ERR("Call `ctr_power_init` failed: %d", ret);
		return ret;
	}
#endif /* defined(FEATURE_SUBSYSTEM_POWER) */

	ret = app_work_init();
	if (ret) {
		LOG_ERR("Call `app_work_init` failed: %d", ret);
		return ret;
	}

	return 0;
}
```

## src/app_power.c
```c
/*
 * Copyright (c) 2023 HARDWARIO a.s.
 *
 * SPDX-License-Identifier: LicenseRef-HARDWARIO-5-Clause
 */

#include "app_data.h"
#include "app_power.h"
#include "feature.h"

/* CHESTER includes */
#include <chester/drivers/ctr_batt.h>

/* Zephyr includes */
#include <zephyr/device.h>
#include <zephyr/devicetree.h>
#include <zephyr/kernel.h>
#include <zephyr/logging/log.h>

/* Standard includes */
#include <errno.h>
#include <math.h>

LOG_MODULE_REGISTER(app_power, LOG_LEVEL_DBG);

int app_power_sample(void)
{
	int ret;

	static const struct device *dev = DEVICE_DT_GET(DT_NODELABEL(ctr_batt));

	if (!device_is_ready(dev)) {
		LOG_ERR("Device not ready");
		ret = -ENODEV;
		goto error;
	}

	int rest_mv;
	ret = ctr_batt_get_rest_voltage_mv(dev, &rest_mv, CTR_BATT_REST_TIMEOUT_DEFAULT_MS);
	if (ret) {
		LOG_ERR("Call `ctr_batt_get_rest_voltage_mv` failed: %d", ret);
		goto error;
	}

	int load_mv;
	ret = ctr_batt_get_load_voltage_mv(dev, &load_mv, CTR_BATT_LOAD_TIMEOUT_DEFAULT_MS);
	if (ret) {
		LOG_ERR("Call `ctr_batt_get_load_voltage_mv` failed: %d", ret);
		goto error;
	}

	int current_ma;
	ctr_batt_get_load_current_ma(dev, &current_ma, load_mv);

	LOG_INF("Battery voltage (rest): %d mV", rest_mv);
	LOG_INF("Battery voltage (load): %d mV", load_mv);
	LOG_INF("Battery current (load): %d mA", current_ma);

	app_data_lock();

	g_app_data.system_voltage_rest = rest_mv;
	g_app_data.system_voltage_load = load_mv;
	g_app_data.system_current_load = current_ma;

	app_data_unlock();

	return 0;

error:
	app_data_lock();

	g_app_data.system_voltage_rest = NAN;
	g_app_data.system_voltage_load = NAN;
	g_app_data.system_current_load = NAN;

	app_data_unlock();

	return ret;
}
```

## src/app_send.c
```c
/*
 * Copyright (c) 2023 HARDWARIO a.s.
 *
 * SPDX-License-Identifier: LicenseRef-HARDWARIO-5-Clause
 */

#include "app_cbor.h"
#include "app_config.h"
#include "app_data.h"
#include "app_send.h"
#include "feature.h"

/* CHESTER includes */
#include <chester/ctr_buf.h>
#include <chester/ctr_info.h>
#include <chester/ctr_cloud.h>
#include <chester/ctr_rtc.h>

/* Zephyr includes */
#include <zephyr/kernel.h>
#include <zephyr/logging/log.h>

#include <zcbor_common.h>
#include <zcbor_encode.h>

/* Standard includes */
#include <limits.h>
#include <math.h>
#include <stddef.h>
#include <stdint.h>

LOG_MODULE_REGISTER(app_send, LOG_LEVEL_DBG);

int app_send(void)
{
	int ret;

	switch (g_app_config.mode) {
	case APP_CONFIG_MODE_NONE:
		LOG_WRN("Application mode is set to none. Not sending data.");
		break;
#if defined(FEATURE_SUBSYSTEM_CLOUD)
	case APP_CONFIG_MODE_LTE: {
		CTR_BUF_DEFINE_STATIC(buf, 8 * 1024);

		ctr_buf_reset(&buf);

		ZCBOR_STATE_E(zs, 8, ctr_buf_get_mem(&buf), ctr_buf_get_free(&buf), 1);

		ret = app_cbor_encode(zs);
		if (ret) {
			LOG_ERR("Call `app_cbor_encode` failed: %d", ret);
			return ret;
		}

		size_t len = zs[0].payload_mut - ctr_buf_get_mem(&buf);

		ret = ctr_buf_seek(&buf, len);
		if (ret) {
			LOG_ERR("Call `ctr_buf_seek` failed: %d", ret);
			return ret;
		}

		ret = ctr_cloud_send(ctr_buf_get_mem(&buf), ctr_buf_get_used(&buf));
		if (ret) {
			LOG_ERR("Call `ctr_cloud_send` failed: %d", ret);
			return ret;
		}

#if defined(CONFIG_CTR_S3)
		/* Reset samples and passage events after successful send (keep totalizers) */
		app_data_lock();
		g_app_data.motion_sample_count = 0;
		g_app_data.passage_event_count = 0;
		app_data_unlock();
		LOG_DBG("Motion samples and passage events reset after send");
#endif /* defined(CONFIG_CTR_S3) */

		break;
	}
#endif /* defined(FEATURE_SUBSYSTEM_CLOUD) */
	}

	return 0;
}
```
